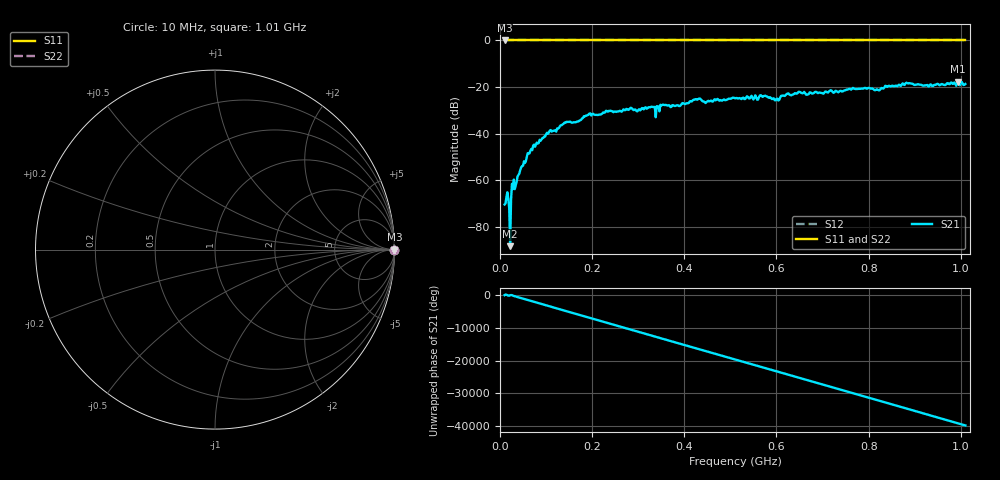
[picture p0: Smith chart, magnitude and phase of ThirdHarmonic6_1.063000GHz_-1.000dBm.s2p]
! 8/16/2025 9:33:06 AM
! C:\ANRITSUVNA\TEMP\TEMP.S2P
! CHANNEL.1
! TR.MEASUREMENT
! RAW.DATA
! RF.CORRECTION.OFF
! AVERAGING.OFF
! IF.BANDWIDTH: 5KHZ
! SWEEPTYPE:  FREQ.SWEEP(Linear)
! Reference Plane Port Info
! PORT:  PORT1  PORT2
! DISTANCE:  0  m  0  m
! TIME:  0  s  0  s
! PHASE.OFFSET:  0  deg.  0  deg.
! LOSS:  0  dB  0  dB
! REF.LOSS:  0  dB  0  dB
! REF.FREQ:  0  Hz  0  Hz
! Power Info
! POWER:  -20  dBm  -20  dBm
! EFF.POWER:  -20  dBm  -20  dBm
! SOURCE.ATTEN:  0  dB  0  dB
! TEST.ATTEN:  0  dB  0  dB
# GHZ S RI R 50.0
! FREQ.GHZ  S11RE  S11IM  S21RE  S21IM  S12RE  S12IM  S22RE  S22IM
!; PortSelection: Port_12
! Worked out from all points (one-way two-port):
!   501 points, 10 MHz to 1.01 GHz, reference 50 ohm
!   highest |S21| = -17.64 dB at 994 MHz (marker M1); lowest = -88.1 dB at 22 MHz (marker M2)
!   lowest |S11| = 0.0 dB at 10 MHz (marker M3)
!   |S11| at or under -10 dB: nowhere
!   |S22| runs from 0.0 to 0.0 dB; largest |S21 - S12| = 1.1
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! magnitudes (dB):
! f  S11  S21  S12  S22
! 10 MHz  0.0  -70.3  0.0  0.0
! 14 MHz  0.0  -67.0  0.0  0.0
! 18 MHz  0.0  -67.8  0.0  0.0
! 22 MHz  0.0  -88.1  0.0  0.0
! 30 MHz  0.0  -59.6  0.0  0.0
! 70 MHz  0.0  -47.0  0.0  0.0
! 106 MHz  0.0  -39.4  0.0  0.0
! 144 MHz  0.0  -34.9  0.0  0.0
! 178 MHz  0.0  -33.4  0.0  0.0
! 234 MHz  0.0  -30.5  0.0  0.0
! 344 MHz  0.0  -28.2  0.0  0.0
! 388 MHz  0.0  -28.1  0.0  0.0
! 430 MHz  0.0  -25.1  0.0  0.0
! 446 MHz  0.0  -26.8  0.0  0.0
! 510 MHz  0.0  -24.8  0.0  0.0
! 568 MHz  0.0  -23.9  0.0  0.0
! 602 MHz  0.0  -25.0  0.0  0.0
! 624 MHz  0.0  -22.8  0.0  0.0
! 678 MHz  0.0  -22.8  0.0  0.0
! 844 MHz  0.0  -19.4  0.0  0.0
! 994 MHz  0.0  -17.6  0.0  0.0
! 1.01 GHz  0.0  -18.7  0.0  0.0
